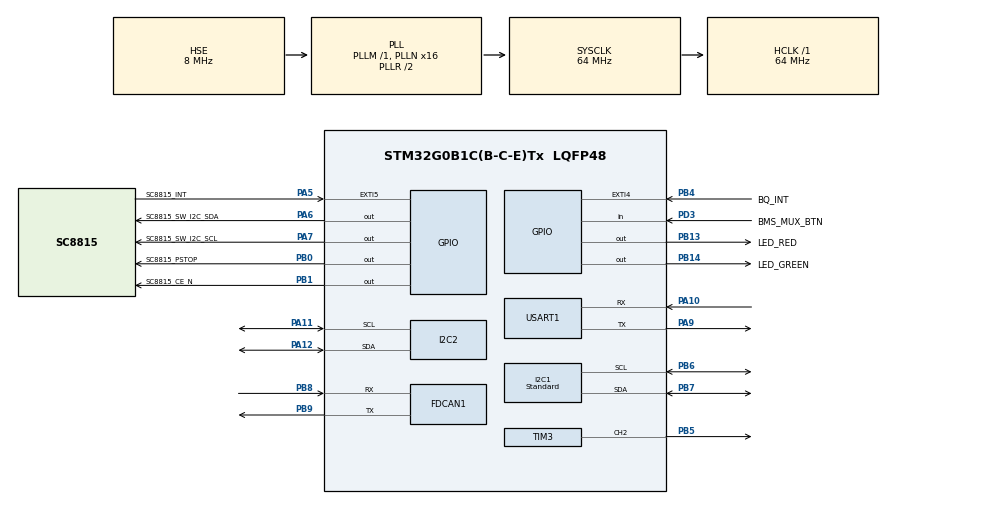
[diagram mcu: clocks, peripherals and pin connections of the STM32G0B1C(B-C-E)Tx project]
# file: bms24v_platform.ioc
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FDCAN1.AutoRetransmission=ENABLE
FDCAN1.CalculateBaudRateData=4000000
FDCAN1.CalculateTimeBitData=250
FDCAN1.CalculateTimeQuantumData=15.625
FDCAN1.CalculateBaudRateNominal=500000
FDCAN1.CalculateTimeBitNominal=2000
FDCAN1.CalculateTimeQuantumNominal=125.0
FDCAN1.DataPrescaler=1
FDCAN1.DataSyncJumpWidth=4
FDCAN1.DataTimeSeg1=11
FDCAN1.DataTimeSeg2=4
FDCAN1.ExtFiltersNbr=0
FDCAN1.FrameFormat=FDCAN_FRAME_FD_BRS
FDCAN1.Mode=FDCAN_MODE_NORMAL
FDCAN1.NominalPrescaler=8
FDCAN1.NominalSyncJumpWidth=2
FDCAN1.NominalTimeSeg1=11
FDCAN1.NominalTimeSeg2=4
FDCAN1.ProtocolException=DISABLE
FDCAN1.StdFiltersNbr=1
FDCAN1.TxFifoQueueMode=FDCAN_TX_FIFO_OPERATION
I2C1.I2C_Speed_Mode=I2C_Standard
I2C1.Timing=0x10B17DB5
I2C2.Timing=0x10B17DB5
Mcu.Family=STM32G0
Mcu.Name=STM32G0B1C(B-C-E)Tx
Mcu.Package=LQFP48
NVIC.EXTI4_15_IRQn=true\:3\:0\:true\:false\:true\:true\:true\:true
NVIC.TIM14_IRQn=true\:3\:0\:false\:false\:true\:false\:true\:true
NVIC.TimeBase=TIM14_IRQn
NVIC.TimeBaseIP=TIM14
PA10.Mode=Asynchronous
PA10.Signal=USART1_RX
PA11\ [PA9].Mode=I2C
PA11\ [PA9].Signal=I2C2_SCL
PA12\ [PA10].Mode=I2C
PA12\ [PA10].Signal=I2C2_SDA
PA13.Mode=Serial_Wire
PA13.Signal=SYS_SWDIO
PA14-BOOT0.Mode=Serial_Wire
PA14-BOOT0.Signal=SYS_SWCLK
PA5.GPIO_Label=SC8815_INT
PA5.GPIO_ModeDefaultEXTI=GPIO_MODE_IT_FALLING
PA5.Signal=GPXTI5
PA6.GPIO_Label=SC8815_SW_I2C_SDA
PA6.GPIO_ModeDefaultOutputPP=GPIO_MODE_OUTPUT_OD
PA6.GPIO_PuPd=GPIO_PULLUP
PA6.GPIO_Speed=GPIO_SPEED_FREQ_HIGH
PA6.PinState=GPIO_PIN_SET
PA6.Signal=GPIO_Output
PA7.GPIO_Label=SC8815_SW_I2C_SCL
PA7.GPIO_ModeDefaultOutputPP=GPIO_MODE_OUTPUT_OD
PA7.GPIO_PuPd=GPIO_PULLUP
PA7.GPIO_Speed=GPIO_SPEED_FREQ_HIGH
PA7.PinState=GPIO_PIN_SET
PA7.Signal=GPIO_Output
PA9.Mode=Asynchronous
PA9.Signal=USART1_TX
PB0.GPIO_Label=SC8815_PSTOP
PB0.GPIO_PuPd=GPIO_PULLUP
PB0.GPIO_Speed=GPIO_SPEED_FREQ_HIGH
PB0.PinState=GPIO_PIN_SET
PB0.Signal=GPIO_Output
PB1.GPIO_Label=SC8815_CE_N
PB1.GPIO_ModeDefaultOutputPP=GPIO_MODE_OUTPUT_PP
PB1.GPIO_PuPd=GPIO_PULLUP
PB1.PinState=GPIO_PIN_SET
PB1.Signal=GPIO_Output
PB13.GPIO_Label=LED_RED
PB13.Signal=GPIO_Output
PB14.GPIO_Label=LED_GREEN
PB14.Signal=GPIO_Output
PB4.GPIO_Label=BQ_INT
PB4.GPIO_ModeDefaultEXTI=GPIO_MODE_IT_FALLING
PB4.GPIO_PuPd=GPIO_PULLUP
PB4.Signal=GPXTI4
PB5.Signal=S_TIM3_CH2
PB6.Mode=I2C
PB6.Signal=I2C1_SCL
PB7.Mode=I2C
PB7.Signal=I2C1_SDA
PB8.Mode=FDCAN_Activate
PB8.Signal=FDCAN1_RX
PB9.Mode=FDCAN_Activate
PB9.Signal=FDCAN1_TX
PC14-OSC32_IN\ (PC14).Mode=LSE-External-Oscillator
PC14-OSC32_IN\ (PC14).Signal=RCC_OSC32_IN
PC15-OSC32_OUT\ (PC15).Mode=LSE-External-Oscillator
PC15-OSC32_OUT\ (PC15).Signal=RCC_OSC32_OUT
PD3.GPIO_Label=BMS_MUX_BTN
PD3.Signal=GPIO_Input
PF0-OSC_IN\ (PF0).Mode=HSE-External-Oscillator
PF0-OSC_IN\ (PF0).Signal=RCC_OSC_IN
PF1-OSC_OUT\ (PF1).Mode=HSE-External-Oscillator
PF1-OSC_OUT\ (PF1).Signal=RCC_OSC_OUT
ProjectManager.HeapSize=0x200
ProjectManager.StackSize=0x400
ProjectManager.TargetToolchain=MDK-ARM V5.32
RCC.ADCFreq_Value=64000000
RCC.AHBFreq_Value=64000000
RCC.CortexFreq_Value=64000000
RCC.EXTERNAL_CLOCK_VALUE=48000
RCC.HCLKFreq_Value=64000000
RCC.HSE_VALUE=8000000
RCC.HSI48_VALUE=48000000
RCC.HSI_VALUE=16000000
RCC.PLLN=16
RCC.PLLSourceVirtual=RCC_PLLSOURCE_HSE
RCC.RTCClockSelection=RCC_RTCCLKSOURCE_LSE
RCC.SYSCLKFreq_VALUE=64000000
RCC.SYSCLKSource=RCC_SYSCLKSOURCE_PLLCLK
RCC.USBFreq_Value=48000000
RCC.VCOOutputFreq_Value=128000000
SH.S_TIM3_CH2.0=TIM3_CH2,PWM Generation2 CH2
TIM3.Channel-PWM\ Generation2\ CH2=TIM_CHANNEL_2
TIM3.Period=999
TIM3.Prescaler=63
USART1.VirtualMode-Asynchronous=VM_ASYNC
VP_RTC_VS_RTC_Activate.Mode=RTC_Enabled
VP_SYS_VS_DBSignals.Mode=DisableDeadBatterySignals
VP_SYS_VS_tim14.Mode=TIM14
VP_TIM3_VS_ClockSourceINT.Mode=Internal
board=custom

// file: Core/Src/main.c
/* USER CODE BEGIN Header */
/**
  ******************************************************************************
  * @file           : main.c
  * @brief          : Main program body
  ******************************************************************************
  * @attention
  *
  * Copyright (c) 2026 STMicroelectronics.
  * All rights reserved.
  *
  * This software is licensed under terms that can be found in the LICENSE file
  * in the root directory of this software component.
  * If no LICENSE file comes with this software, it is provided AS-IS.
  *
  ******************************************************************************
  */
/* USER CODE END Header */
#include "main.h"
#include "fdcan.h"
#include "i2c.h"
#include "rtc.h"
#include "tim.h"
#include "usart.h"
#include "gpio.h"

/* USER CODE BEGIN Includes */
#include "App_BatMan.h"
#include "App_Main.h"
#include "Int_Fault.h"
#include "Int_Log.h"
#include "Int_SC8815.h"

/* USER CODE END Includes */

/* USER CODE BEGIN PV */
static bool s_early_bq_safe = false;

/* USER CODE END PV */

void SystemClock_Config(void);
/* USER CODE BEGIN PFP */
static void Bringup_UartPrint(const char *text);

/* USER CODE END PFP */

/* USER CODE BEGIN 0 */
static void Bringup_UartPrint(const char *text)
{
  Int_Log_TryWriteString(text);
}

/* USER CODE END 0 */

int main(void)
{

  /* USER CODE BEGIN 1 */
  /* HAL 时基/IRQ 初始化前先建立 SC8815 硬件停机电平。 */
  Int_SC8815_AssertBootSafeGpio();

  /* USER CODE END 1 */

  /* MCU Configuration--------------------------------------------------------*/

  /* Reset of all peripherals, Initializes the Flash interface and the Systick. */
  HAL_Init();

  /* Configure the system clock */
  SystemClock_Config();

  /* USER CODE BEGIN SysInit */
  /*
   * Cube 生成的完整外设列表位于本区之后。先只建立安全 GPIO 和 BQ I2C，
   * 使 watchdog reset 后的第一批板级动作固定为 PSTOP 与 ALL_FETS_OFF。
   * 后续 Cube 重复初始化 GPIO/I2C1 是幂等的，不改变已建立的全关门禁。
   */
  MX_GPIO_Init();
  Int_SC8815_ForceStandby();
  MX_I2C1_Init();
  s_early_bq_safe = App_BatMan_EarlySafeOutputs();

  /* USER CODE END SysInit */

  /* Initialize all configured peripherals */
  MX_GPIO_Init();
  MX_RTC_Init();
  MX_FDCAN1_Init();
  MX_I2C2_Init();
  MX_USART1_UART_Init();
  MX_I2C1_Init();
  MX_TIM3_Init();
  /* USER CODE BEGIN 2 */
  Int_Log_Init();
  Bringup_UartPrint("\r\nBMS24V 平台安全启动\r\n");
  Bringup_UartPrint("SC8815 初始化后保持监控待机: CE_N=0 PSTOP=1 充电请求关闭\r\n");
  Bringup_UartPrint("串口 USART1 115200 8N1\r\n");
  Bringup_UartPrint("进入 App_Main 任务层\r\n");
  App_Main(s_early_bq_safe);

  /* USER CODE END 2 */

  /* Infinite loop */
  while (1)
  {

  }
}

void SystemClock_Config(void)
{
  RCC_OscInitTypeDef RCC_OscInitStruct = {0};
  RCC_ClkInitTypeDef RCC_ClkInitStruct = {0};

  /** Configure the main internal regulator output voltage
  */
  HAL_PWREx_ControlVoltageScaling(PWR_REGULATOR_VOLTAGE_SCALE1);

  /** Configure LSE Drive Capability
  */
  HAL_PWR_EnableBkUpAccess();
  __HAL_RCC_LSEDRIVE_CONFIG(RCC_LSEDRIVE_LOW);

  /** Initializes the RCC Oscillators according to the specified parameters
  * in the RCC_OscInitTypeDef structure.
  */
  RCC_OscInitStruct.OscillatorType = RCC_OSCILLATORTYPE_HSE|RCC_OSCILLATORTYPE_LSE;
  RCC_OscInitStruct.HSEState = RCC_HSE_ON;
  RCC_OscInitStruct.LSEState = RCC_LSE_ON;
  RCC_OscInitStruct.PLL.PLLState = RCC_PLL_ON;
  RCC_OscInitStruct.PLL.PLLSource = RCC_PLLSOURCE_HSE;
  RCC_OscInitStruct.PLL.PLLM = RCC_PLLM_DIV1;
  RCC_OscInitStruct.PLL.PLLN = 16;
  RCC_OscInitStruct.PLL.PLLP = RCC_PLLP_DIV2;
  RCC_OscInitStruct.PLL.PLLQ = RCC_PLLQ_DIV2;
  RCC_OscInitStruct.PLL.PLLR = RCC_PLLR_DIV2;
  if (HAL_RCC_OscConfig(&RCC_OscInitStruct) != HAL_OK)
  {
    Error_Handler();
  }

  /** Initializes the CPU, AHB and APB buses clocks
  */
  RCC_ClkInitStruct.ClockType = RCC_CLOCKTYPE_HCLK|RCC_CLOCKTYPE_SYSCLK
                              |RCC_CLOCKTYPE_PCLK1;
  RCC_ClkInitStruct.SYSCLKSource = RCC_SYSCLKSOURCE_PLLCLK;
  RCC_ClkInitStruct.AHBCLKDivider = RCC_SYSCLK_DIV1;
  RCC_ClkInitStruct.APB1CLKDivider = RCC_HCLK_DIV1;

  if (HAL_RCC_ClockConfig(&RCC_ClkInitStruct, FLASH_LATENCY_2) != HAL_OK)
  {
    Error_Handler();
  }
}

void HAL_TIM_PeriodElapsedCallback(TIM_HandleTypeDef *htim)
{
  if (htim->Instance == TIM14)
  {
    HAL_IncTick();
  }
}

void Error_Handler(void)
{
  /* USER CODE BEGIN Error_Handler_Debug */
  Int_Fault_Panic(INT_FAULT_ERROR_HANDLER, 0u);
  /* USER CODE END Error_Handler_Debug */
}
#ifdef USE_FULL_ASSERT
/**
  * @brief  Reports the name of the source file and the source line number
  *         where the assert_param error has occurred.
  * @param  file: pointer to the source file name
  * @param  line: assert_param error line source number
  * @retval None
  */
void assert_failed(uint8_t *file, uint32_t line)
{
  /* USER CODE BEGIN 6 */
  Int_Fault_ConfigAssert((const char *)file, line);
  /* USER CODE END 6 */
}
#endif /* USE_FULL_ASSERT */
